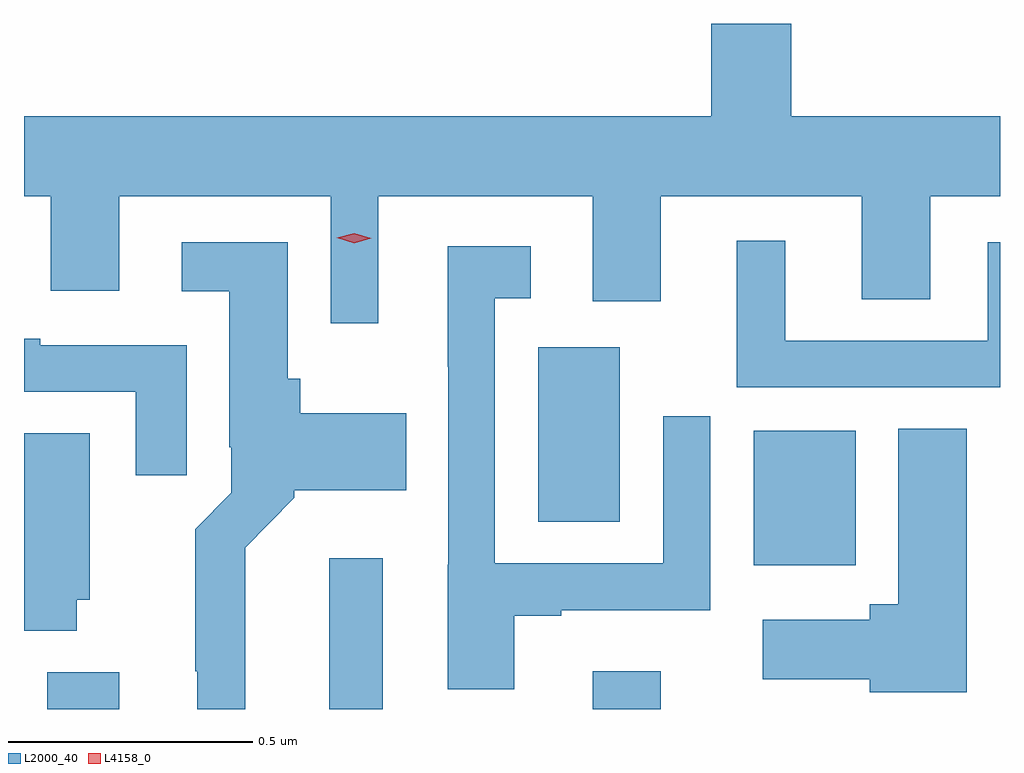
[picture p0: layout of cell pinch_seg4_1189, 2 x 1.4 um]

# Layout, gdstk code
import gdstk
lib = gdstk.Library(unit=1e-6, precision=1e-09)
def R(c, l, rs):  # rectangles x0, y0, x1, y1
    for r in rs: c.add(gdstk.rectangle(r[:2], r[2:], *l))
def P(c, l, *ps):  # polygons
    for p in ps: c.add(gdstk.Polygon(p, *l))
L2000_40 = (2000, 40)
L4158_0 = (4158, 0)

pinch_seg4_1189 = lib.new_cell('pinch_seg4_1189')
R(pinch_seg4_1189, L2000_40, [(487.324,762.469,487.471,762.544), (487.901,762.469,488.011,762.778), (488.441,762.469,488.581,762.547), (488.771,762.764,488.98,763.039), (488.33,762.853,488.497,763.21)])
P(pinch_seg4_1189, L2000_40, [(488.002,763.52),(488.441,763.52),(488.441,763.305),(488.581,763.305),(488.581,763.52),(488.993,763.52),(488.993,763.309),(489.133,763.309),(489.133,763.52),(489.276,763.52),(489.276,763.684),(488.848,763.684),(488.848,763.873),(488.684,763.873),(488.684,763.684),(487.276,763.684),(487.276,763.52),(487.331,763.52),(487.331,763.326),(487.471,763.326),(487.471,763.52),(487.905,763.52),(487.905,763.26),(488.002,763.26)],
  [(489.276,763.426),(489.251,763.426),(489.251,763.224),(488.836,763.224),(488.836,763.429),(488.737,763.429),(488.737,763.128),(489.276,763.128)],
  [(487.729,762.8),(487.83,762.902),(487.83,762.917),(488.059,762.917),(488.059,763.075),(487.842,763.075),(487.842,763.146),(487.816,763.146),(487.816,763.426),(487.599,763.426),(487.599,763.325),(487.697,763.325),(487.697,763.006),(487.701,763.006),(487.701,762.912),(487.627,762.838),(487.627,762.547),(487.631,762.547),(487.631,762.469),(487.729,762.469)],
  [(488.281,762.66),(488.377,762.66),(488.377,762.672),(488.682,762.672),(488.682,763.069),(488.586,763.069),(488.586,762.768),(488.241,762.768),(488.241,763.311),(488.314,763.311),(488.314,763.417),(488.144,763.417),(488.144,763.171),(488.145,763.171),(488.145,762.765),(488.144,762.765),(488.144,762.51),(488.281,762.51)],
  [(487.609,763.215),(487.309,763.215),(487.309,763.228),(487.276,763.228),(487.276,763.119),(487.505,763.119),(487.505,762.948),(487.609,762.948)],
  [(489.208,763.043),(489.068,763.043),(489.068,762.684),(489.009,762.684),(489.009,762.652),(488.79,762.652),(488.79,762.53),(489.009,762.53),(489.009,762.503),(489.208,762.503)],
  [(487.384,762.693),(487.411,762.693),(487.411,763.034),(487.276,763.034),(487.276,762.629),(487.384,762.629)])
P(pinch_seg4_1189, L4158_0, [(487.953,763.424),(487.917,763.435),(487.917,763.435),(487.917,763.435),(487.953,763.444),(487.988,763.434),(487.988,763.434),(487.988,763.434)])

lib.write_gds('pinch_seg4_1189.gds')
